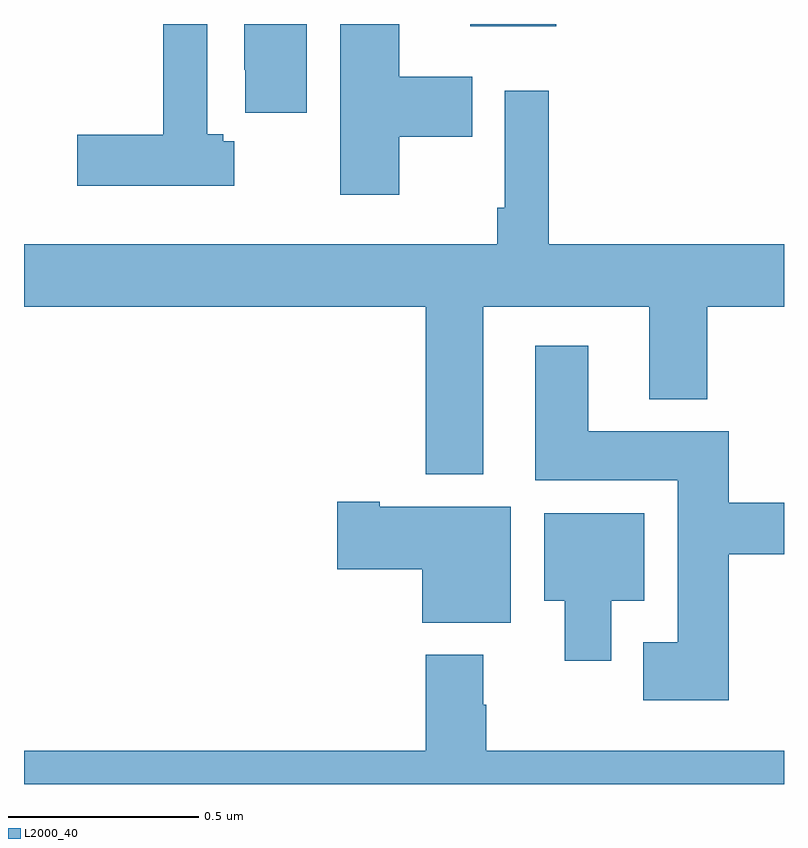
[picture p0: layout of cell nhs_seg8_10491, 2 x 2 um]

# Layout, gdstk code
import gdstk
lib = gdstk.Library(unit=1e-6, precision=1e-09)
def R(c, l, rs):  # rectangles x0, y0, x1, y1
    for r in rs: c.add(gdstk.rectangle(r[:2], r[2:], *l))
def P(c, l, *ps):  # polygons
    for p in ps: c.add(gdstk.Polygon(p, *l))
L2000_40 = (2000, 40)

nhs_seg8_10491 = lib.new_cell('nhs_seg8_10491')
R(nhs_seg8_10491, L2000_40, [(251.174,1127.894,251.4,1127.9)])
P(nhs_seg8_10491, L2000_40, [(250.553,1127.591),(250.524,1127.591),(250.524,1127.61),(250.482,1127.61),(250.482,1127.9),(250.366,1127.9),(250.366,1127.609),(250.14,1127.609),(250.14,1127.474),(250.553,1127.474)],
  [(250.744,1127.9),(250.58,1127.9),(250.58,1127.779),(250.582,1127.779),(250.582,1127.667),(250.744,1127.667)],
  [(250.987,1127.603),(251.18,1127.603),(251.18,1127.761),(250.987,1127.761),(250.987,1127.9),(250.832,1127.9),(250.832,1127.451),(250.987,1127.451)],
  [(251.209,1127.156),(251.645,1127.156),(251.645,1126.913),(251.798,1126.913),(251.798,1127.156),(252,1127.156),(252,1127.32),(251.381,1127.32),(251.381,1127.725),(251.265,1127.725),(251.265,1127.416),(251.245,1127.416),(251.245,1127.32),(250,1127.32),(250,1127.156),(251.057,1127.156),(251.057,1126.715),(251.209,1126.715)],
  [(251.855,1126.504),(252,1126.504),(252,1126.64),(251.855,1126.64),(251.855,1126.828),(251.485,1126.828),(251.485,1127.053),(251.345,1127.053),(251.345,1126.7),(251.72,1126.7),(251.72,1126.273),(251.63,1126.273),(251.63,1126.121),(251.855,1126.121)],
  [(251.281,1126.63),(250.936,1126.63),(250.936,1126.643),(250.824,1126.643),(250.824,1126.465),(251.048,1126.465),(251.048,1126.325),(251.281,1126.325)],
  [(251.545,1126.382),(251.632,1126.382),(251.632,1126.612),(251.369,1126.612),(251.369,1126.382),(251.423,1126.382),(251.423,1126.224),(251.545,1126.224)],
  [(252,1125.988),(251.217,1125.988),(251.217,1126.109),(251.209,1126.109),(251.209,1126.24),(251.057,1126.24),(251.057,1125.988),(250,1125.988),(250,1125.9),(252,1125.9)])

lib.write_gds('nhs_seg8_10491.gds')
